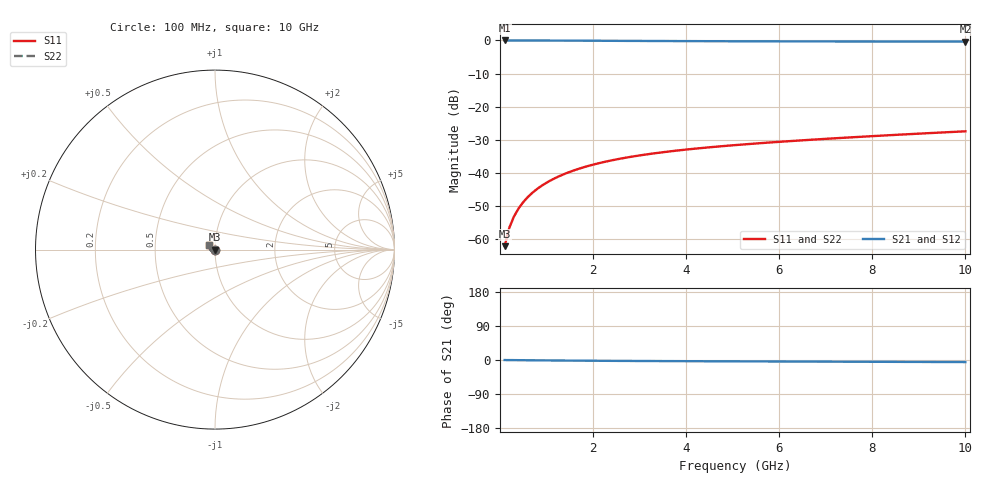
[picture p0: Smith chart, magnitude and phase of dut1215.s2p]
! Touchstone file exported from HFSS 2024.1.0
!  File:  C:/UserFiles/LocalFiles/RDL_TSV_Batchsim/temp_TSV1_1215_1780248727.aedt
!  Generated:  01:40:42 AM Jun  1, 2026
!  Design:  TSV1
!  Project:  temp_TSV1_1215_1780248727
!  Setup:  Setup1
!  Solution:  Sweep
! Variables:
!  dtsv = 7.01um
!  hbump = 3um
!  htsv = 80.38um
!  lrdl = 252.1521522um
!  p = 40
!  p1 = 57.26um
!  t = 500um
!  trdl = 3um
!  wrdl = 24.89489489um
# GHz S MA R 50.000000
! Terminal data exported
! Port[1] = TSV22_T1
! Port[2] = TSV22_T2
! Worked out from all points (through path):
!   100 points, 100 MHz to 10 GHz, reference 50 ohm
!   highest |S21| = 0.00 dB at 100 MHz (marker M1); lowest = -0.3 dB at 10 GHz (marker M2)
!   lowest |S11| = -62.2 dB at 100 MHz (marker M3), VSWR 1.00, Z = 50 - j0.0736 ohm
!   |S11| at or under -10 dB: start of sweep to end of sweep
!   |S22| runs from -62.2 to -27.5 dB; largest |S21 - S12| = 5.1e-15
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0.1  0.0007805 -70.4  0.9997 -0.1  0.9997 -0.1  0.0007805 -70.4
! Gamma 0 0 0 0
! Port Impedance 50 0 50 0
0.2  0.001476 -83.4  0.9996 -0.2  0.9996 -0.2  0.001476 -83.4
0.3  0.002187 -89.5  0.9994 -0.3  0.9994 -0.3  0.002187 -89.5
0.4  0.002901 -93.8  0.9992 -0.5  0.9992 -0.5  0.002901 -93.8
0.5  0.003613 -97.3  0.9989 -0.6  0.9989 -0.6  0.003613 -97.3
0.6  0.004321 -100.4  0.9986 -0.7  0.9986 -0.7  0.004321 -100.4
0.7  0.005024 -103.3  0.9982 -0.8  0.9982 -0.8  0.005024 -103.3
0.8  0.00572 -106.0  0.9977 -0.9  0.9977 -0.9  0.00572 -106.0
0.9  0.006409 -108.6  0.9972 -1.0  0.9972 -1.0  0.006409 -108.6
1.1  0.007761 -113.5  0.9962 -1.2  0.9962 -1.2  0.007761 -113.5
1.4  0.009711 -120.4  0.9943 -1.5  0.9943 -1.5  0.009711 -120.4
1.6  0.01095 -124.8  0.993 -1.6  0.993 -1.6  0.01095 -124.8
1.8  0.01215 -129.0  0.9916 -1.8  0.9916 -1.8  0.01215 -129.0
2.1  0.01385 -135.1  0.9894 -2.0  0.9894 -2.0  0.01385 -135.1
2.5  0.01594 -142.6  0.9865 -2.3  0.9865 -2.3  0.01594 -142.6
2.9  0.01787 -149.5  0.9836 -2.6  0.9836 -2.6  0.01787 -149.5
3.4  0.02006 -157.5  0.9804 -2.8  0.9804 -2.8  0.02006 -157.5
4.2  0.02321 -168.7  0.9759 -3.2  0.9759 -3.2  0.02321 -168.7
5.1  0.02641 -179.5  0.9718 -3.6  0.9718 -3.6  0.02641 -179.5
6.7  0.03167 165.3  0.9667 -4.2  0.9667 -4.2  0.03167 165.3
8.4  0.03714 152.9  0.9631 -4.9  0.9631 -4.9  0.03714 152.9
10  0.04239 143.8  0.9607 -5.5  0.9607 -5.5  0.04239 143.8
